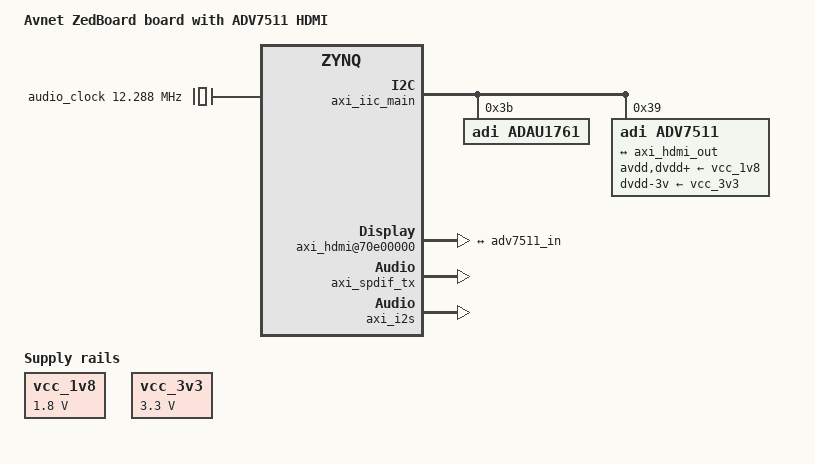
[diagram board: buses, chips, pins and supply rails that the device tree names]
// SPDX-License-Identifier: GPL-2.0
/*
 * ZedBoard with the ADI "adv7511" reference design (hdl_2023_r2) in the PL:
 * AXI HDMI TX + AXI-DMAC video path to the on-board ADV7511, S/PDIF audio
 * to the ADV7511 and I2S audio to the on-board ADAU1761.
 */
/dts-v1/;
#include "zynq-zed.dts"
#include <dt-bindings/interrupt-controller/arm-gic.h>

/ {
	model = "Avnet ZedBoard board with ADV7511 HDMI";

	/* ADV7511 datasheet: 1.8 V analog/digital/PLL/bandgap rails, 3.3 V DVDD_3V */
	vcc_1v8: regulator-1v8 {
		compatible = "regulator-fixed";
		regulator-name = "VCC1V8";
		regulator-min-microvolt = <1800000>;
		regulator-max-microvolt = <1800000>;
		regulator-always-on;
	};

	vcc_3v3: regulator-3v3 {
		compatible = "regulator-fixed";
		regulator-name = "VCC3V3";
		regulator-min-microvolt = <3300000>;
		regulator-max-microvolt = <3300000>;
		regulator-always-on;
	};

	audio_clock: audio-clock {
		compatible = "fixed-clock";
		#clock-cells = <0>;
		clock-frequency = <12288000>;
	};

	hdmi-sound {
		compatible = "simple-audio-card";
		simple-audio-card,name = "HDMI monitor";
		simple-audio-card,widgets = "Speaker", "Speaker";
		simple-audio-card,routing = "Speaker", "TX";

		simple-audio-card,dai-link {
			cpu {
				sound-dai = <&axi_spdif_tx>;
			};

			codec {
				sound-dai = <&adv7511 1>;
			};
		};
	};

	zed-sound {
		compatible = "simple-audio-card";
		simple-audio-card,name = "ZED ADAU1761";
		simple-audio-card,widgets =
			"Microphone", "Mic In",
			"Headphone", "Headphone Out",
			"Line", "Line In",
			"Line", "Line Out";
		simple-audio-card,routing =
			"Line Out", "LOUT",
			"Line Out", "ROUT",
			"Headphone Out", "LHP",
			"Headphone Out", "RHP",
			"Mic In", "MICBIAS",
			"LINN", "Mic In",
			"RINN", "Mic In",
			"LAUX", "Line In",
			"RAUX", "Line In";

		simple-audio-card,dai-link {
			format = "i2s";

			cpu {
				sound-dai = <&axi_i2s>;
			};

			codec {
				sound-dai = <&adau1761>;
			};
		};
	};

	fpga-bus {
		compatible = "simple-bus";
		interrupt-parent = <&intc>;
		#address-cells = <1>;
		#size-cells = <1>;
		ranges;

		axi_iic_main: i2c@41600000 {
			compatible = "xlnx,xps-iic-2.00.a";
			reg = <0x41600000 0x10000>;
			interrupts = <GIC_SPI 58 IRQ_TYPE_LEVEL_HIGH>;
			clocks = <&clkc 15>;
			#address-cells = <1>;
			#size-cells = <0>;

			adau1761: audio-codec@3b {
				compatible = "adi,adau1761";
				reg = <0x3b>;
				clocks = <&audio_clock>;
				clock-names = "mclk";
				#sound-dai-cells = <0>;
			};

			adv7511: hdmi@39 {
				compatible = "adi,adv7511";
				reg = <0x39>, <0x3f>;
				reg-names = "main", "edid";
				adi,input-depth = <8>;
				adi,input-colorspace = "yuv422";
				adi,input-clock = "1x";
				adi,input-style = <1>;
				adi,input-justification = "right";
				adi,clock-delay = <0>;
				avdd-supply = <&vcc_1v8>;
				dvdd-supply = <&vcc_1v8>;
				pvdd-supply = <&vcc_1v8>;
				bgvdd-supply = <&vcc_1v8>;
				dvdd-3v-supply = <&vcc_3v3>;
				#sound-dai-cells = <1>;

				ports {
					#address-cells = <1>;
					#size-cells = <0>;

					port@0 {
						reg = <0>;

						adv7511_in: endpoint {
							remote-endpoint = <&axi_hdmi_out>;
						};
					};

					port@1 {
						reg = <1>;
					};
				};
			};
		};

		hdmi_dma: dma-controller@43000000 {
			compatible = "adi,axi-dmac-1.00.a";
			reg = <0x43000000 0x1000>;
			interrupts = <GIC_SPI 59 IRQ_TYPE_LEVEL_HIGH>;
			clocks = <&clkc 16>;
			#dma-cells = <1>;

		};

		hdmi_clock: clock-controller@79000000 {
			compatible = "adi,axi-clkgen-2.00.a";
			reg = <0x79000000 0x10000>;
			clocks = <&clkc 16>, <&clkc 15>;
			clock-names = "clkin1", "s_axi_aclk";
			#clock-cells = <0>;
		};

		axi_hdmi@70e00000 {
			compatible = "adi,axi-hdmi-tx-1.00.a";
			reg = <0x70e00000 0x10000>;
			clocks = <&hdmi_clock>;
			dmas = <&hdmi_dma 0>;
			dma-names = "video";

			port {
				axi_hdmi_out: endpoint {
					remote-endpoint = <&adv7511_in>;
				};
			};
		};

		axi_spdif_tx: axi-spdif-tx@75c00000 {
			compatible = "adi,axi-spdif-tx-1.00.a";
			reg = <0x75c00000 0x1000>;
			dmas = <&dmac_s 0>;
			dma-names = "tx";
			clocks = <&clkc 15>, <&audio_clock>;
			clock-names = "axi", "ref";
			#sound-dai-cells = <0>;
		};

		axi_i2s: axi-i2s@77600000 {
			compatible = "adi,axi-i2s-1.00.a";
			reg = <0x77600000 0x1000>;
			dmas = <&dmac_s 1>, <&dmac_s 2>;
			dma-names = "tx", "rx";
			clocks = <&clkc 15>, <&audio_clock>;
			clock-names = "axi", "ref";
			#sound-dai-cells = <0>;
		};

	};
};
